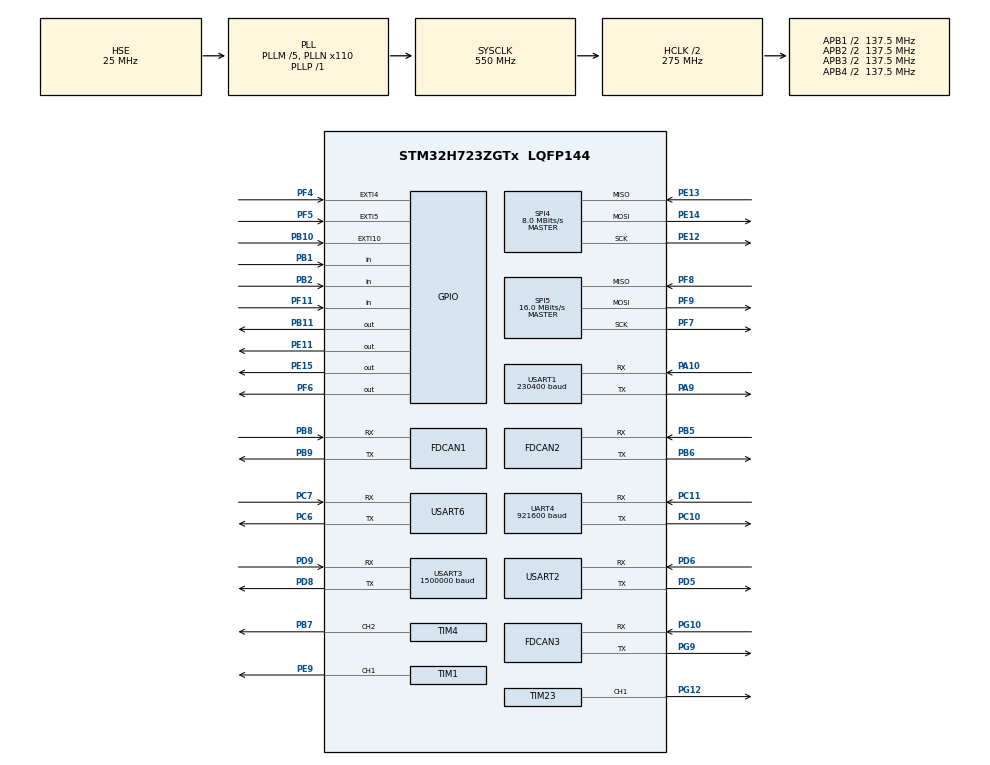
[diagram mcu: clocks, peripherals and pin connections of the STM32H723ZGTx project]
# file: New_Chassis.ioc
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CORTEX_M7.default_mode_Activation=1
Dma.Request0=USART2_RX
Dma.Request1=USART2_TX
Dma.Request2=UART4_RX
Dma.Request3=UART4_TX
Dma.Request4=TIM4_CH2
Dma.Request5=TIM1_CH1
Dma.Request6=USART1_RX
Dma.Request7=USART1_TX
Dma.Request8=USART3_RX
Dma.Request9=TIM23_CH1
Dma.TIM1_CH1.5.Direction=DMA_MEMORY_TO_PERIPH
Dma.TIM1_CH1.5.EventEnable=DISABLE
Dma.TIM1_CH1.5.FIFOMode=DMA_FIFOMODE_DISABLE
Dma.TIM1_CH1.5.Instance=DMA1_Stream5
Dma.TIM1_CH1.5.MemDataAlignment=DMA_MDATAALIGN_WORD
Dma.TIM1_CH1.5.MemInc=DMA_MINC_ENABLE
Dma.TIM1_CH1.5.Mode=DMA_NORMAL
Dma.TIM1_CH1.5.PeriphDataAlignment=DMA_PDATAALIGN_WORD
Dma.TIM1_CH1.5.PeriphInc=DMA_PINC_DISABLE
Dma.TIM1_CH1.5.Polarity=HAL_DMAMUX_REQ_GEN_RISING
Dma.TIM1_CH1.5.Priority=DMA_PRIORITY_LOW
Dma.TIM1_CH1.5.RequestNumber=1
Dma.TIM1_CH1.5.SignalID=NONE
Dma.TIM1_CH1.5.SyncEnable=DISABLE
Dma.TIM1_CH1.5.SyncPolarity=HAL_DMAMUX_SYNC_NO_EVENT
Dma.TIM1_CH1.5.SyncRequestNumber=1
Dma.TIM1_CH1.5.SyncSignalID=NONE
Dma.TIM23_CH1.9.Direction=DMA_MEMORY_TO_PERIPH
Dma.TIM23_CH1.9.EventEnable=DISABLE
Dma.TIM23_CH1.9.FIFOMode=DMA_FIFOMODE_DISABLE
Dma.TIM23_CH1.9.Instance=DMA2_Stream1
Dma.TIM23_CH1.9.MemDataAlignment=DMA_MDATAALIGN_WORD
Dma.TIM23_CH1.9.MemInc=DMA_MINC_ENABLE
Dma.TIM23_CH1.9.Mode=DMA_NORMAL
Dma.TIM23_CH1.9.PeriphDataAlignment=DMA_PDATAALIGN_WORD
Dma.TIM23_CH1.9.PeriphInc=DMA_PINC_DISABLE
Dma.TIM23_CH1.9.Polarity=HAL_DMAMUX_REQ_GEN_RISING
Dma.TIM23_CH1.9.Priority=DMA_PRIORITY_VERY_HIGH
Dma.TIM23_CH1.9.RequestNumber=1
Dma.TIM23_CH1.9.SignalID=NONE
Dma.TIM23_CH1.9.SyncEnable=DISABLE
Dma.TIM23_CH1.9.SyncPolarity=HAL_DMAMUX_SYNC_NO_EVENT
Dma.TIM23_CH1.9.SyncRequestNumber=1
Dma.TIM23_CH1.9.SyncSignalID=NONE
Dma.TIM4_CH2.4.Direction=DMA_MEMORY_TO_PERIPH
Dma.TIM4_CH2.4.EventEnable=DISABLE
Dma.TIM4_CH2.4.FIFOMode=DMA_FIFOMODE_DISABLE
Dma.TIM4_CH2.4.Instance=DMA1_Stream1
Dma.TIM4_CH2.4.MemDataAlignment=DMA_MDATAALIGN_WORD
Dma.TIM4_CH2.4.MemInc=DMA_MINC_ENABLE
Dma.TIM4_CH2.4.Mode=DMA_NORMAL
Dma.TIM4_CH2.4.PeriphDataAlignment=DMA_PDATAALIGN_WORD
Dma.TIM4_CH2.4.PeriphInc=DMA_PINC_DISABLE
Dma.TIM4_CH2.4.Polarity=HAL_DMAMUX_REQ_GEN_RISING
Dma.TIM4_CH2.4.Priority=DMA_PRIORITY_LOW
Dma.TIM4_CH2.4.RequestNumber=1
Dma.TIM4_CH2.4.SignalID=NONE
Dma.TIM4_CH2.4.SyncEnable=DISABLE
Dma.TIM4_CH2.4.SyncPolarity=HAL_DMAMUX_SYNC_NO_EVENT
Dma.TIM4_CH2.4.SyncRequestNumber=1
Dma.TIM4_CH2.4.SyncSignalID=NONE
Dma.UART4_RX.2.Direction=DMA_PERIPH_TO_MEMORY
Dma.UART4_RX.2.EventEnable=DISABLE
Dma.UART4_RX.2.FIFOMode=DMA_FIFOMODE_DISABLE
Dma.UART4_RX.2.Instance=DMA1_Stream2
Dma.UART4_RX.2.MemDataAlignment=DMA_MDATAALIGN_BYTE
Dma.UART4_RX.2.MemInc=DMA_MINC_ENABLE
Dma.UART4_RX.2.Mode=DMA_NORMAL
Dma.UART4_RX.2.PeriphDataAlignment=DMA_PDATAALIGN_BYTE
Dma.UART4_RX.2.PeriphInc=DMA_PINC_DISABLE
Dma.UART4_RX.2.Polarity=HAL_DMAMUX_REQ_GEN_RISING
Dma.UART4_RX.2.Priority=DMA_PRIORITY_LOW
Dma.UART4_RX.2.RequestNumber=1
Dma.UART4_RX.2.SignalID=NONE
Dma.UART4_RX.2.SyncEnable=DISABLE
Dma.UART4_RX.2.SyncPolarity=HAL_DMAMUX_SYNC_NO_EVENT
Dma.UART4_RX.2.SyncRequestNumber=1
Dma.UART4_RX.2.SyncSignalID=NONE
Dma.UART4_TX.3.Direction=DMA_MEMORY_TO_PERIPH
Dma.UART4_TX.3.EventEnable=DISABLE
Dma.UART4_TX.3.FIFOMode=DMA_FIFOMODE_DISABLE
Dma.UART4_TX.3.Instance=DMA1_Stream4
Dma.UART4_TX.3.MemDataAlignment=DMA_MDATAALIGN_BYTE
Dma.UART4_TX.3.MemInc=DMA_MINC_ENABLE
Dma.UART4_TX.3.Mode=DMA_NORMAL
Dma.UART4_TX.3.PeriphDataAlignment=DMA_PDATAALIGN_BYTE
Dma.UART4_TX.3.PeriphInc=DMA_PINC_DISABLE
Dma.UART4_TX.3.Polarity=HAL_DMAMUX_REQ_GEN_RISING
Dma.UART4_TX.3.Priority=DMA_PRIORITY_LOW
Dma.UART4_TX.3.RequestNumber=1
Dma.UART4_TX.3.SignalID=NONE
Dma.UART4_TX.3.SyncEnable=DISABLE
Dma.UART4_TX.3.SyncPolarity=HAL_DMAMUX_SYNC_NO_EVENT
Dma.UART4_TX.3.SyncRequestNumber=1
Dma.UART4_TX.3.SyncSignalID=NONE
Dma.USART1_RX.6.Direction=DMA_PERIPH_TO_MEMORY
Dma.USART1_RX.6.EventEnable=DISABLE
Dma.USART1_RX.6.FIFOMode=DMA_FIFOMODE_DISABLE
Dma.USART1_RX.6.Instance=DMA1_Stream7
Dma.USART1_RX.6.MemDataAlignment=DMA_MDATAALIGN_BYTE
Dma.USART1_RX.6.MemInc=DMA_MINC_ENABLE
Dma.USART1_RX.6.Mode=DMA_NORMAL
Dma.USART1_RX.6.PeriphDataAlignment=DMA_PDATAALIGN_BYTE
Dma.USART1_RX.6.PeriphInc=DMA_PINC_DISABLE
Dma.USART1_RX.6.Polarity=HAL_DMAMUX_REQ_GEN_RISING
Dma.USART1_RX.6.Priority=DMA_PRIORITY_LOW
Dma.USART1_RX.6.RequestNumber=1
Dma.USART1_RX.6.SignalID=NONE
Dma.USART1_RX.6.SyncEnable=DISABLE
Dma.USART1_RX.6.SyncPolarity=HAL_DMAMUX_SYNC_NO_EVENT
Dma.USART1_RX.6.SyncRequestNumber=1
Dma.USART1_RX.6.SyncSignalID=NONE
Dma.USART1_TX.7.Direction=DMA_MEMORY_TO_PERIPH
Dma.USART1_TX.7.EventEnable=DISABLE
Dma.USART1_TX.7.FIFOMode=DMA_FIFOMODE_DISABLE
Dma.USART1_TX.7.Instance=DMA2_Stream0
Dma.USART1_TX.7.MemDataAlignment=DMA_MDATAALIGN_BYTE
Dma.USART1_TX.7.MemInc=DMA_MINC_ENABLE
Dma.USART1_TX.7.Mode=DMA_NORMAL
Dma.USART1_TX.7.PeriphDataAlignment=DMA_PDATAALIGN_BYTE
Dma.USART1_TX.7.PeriphInc=DMA_PINC_DISABLE
Dma.USART1_TX.7.Polarity=HAL_DMAMUX_REQ_GEN_RISING
Dma.USART1_TX.7.Priority=DMA_PRIORITY_LOW
Dma.USART1_TX.7.RequestNumber=1
Dma.USART1_TX.7.SignalID=NONE
Dma.USART1_TX.7.SyncEnable=DISABLE
Dma.USART1_TX.7.SyncPolarity=HAL_DMAMUX_SYNC_NO_EVENT
Dma.USART1_TX.7.SyncRequestNumber=1
Dma.USART1_TX.7.SyncSignalID=NONE
Dma.USART2_RX.0.Direction=DMA_PERIPH_TO_MEMORY
Dma.USART2_RX.0.EventEnable=DISABLE
Dma.USART2_RX.0.FIFOMode=DMA_FIFOMODE_DISABLE
Dma.USART2_RX.0.Instance=DMA1_Stream0
Dma.USART2_RX.0.MemDataAlignment=DMA_MDATAALIGN_BYTE
Dma.USART2_RX.0.MemInc=DMA_MINC_ENABLE
Dma.USART2_RX.0.Mode=DMA_NORMAL
Dma.USART2_RX.0.PeriphDataAlignment=DMA_PDATAALIGN_BYTE
Dma.USART2_RX.0.PeriphInc=DMA_PINC_DISABLE
Dma.USART2_RX.0.Polarity=HAL_DMAMUX_REQ_GEN_RISING
Dma.USART2_RX.0.Priority=DMA_PRIORITY_LOW
Dma.USART2_RX.0.RequestNumber=1
Dma.USART2_RX.0.SignalID=NONE
Dma.USART2_RX.0.SyncEnable=DISABLE
Dma.USART2_RX.0.SyncPolarity=HAL_DMAMUX_SYNC_NO_EVENT
Dma.USART2_RX.0.SyncRequestNumber=1
Dma.USART2_RX.0.SyncSignalID=NONE
Dma.USART2_TX.1.Direction=DMA_MEMORY_TO_PERIPH
Dma.USART2_TX.1.EventEnable=DISABLE
Dma.USART2_TX.1.FIFOMode=DMA_FIFOMODE_DISABLE
Dma.USART2_TX.1.Instance=DMA1_Stream3
Dma.USART2_TX.1.MemDataAlignment=DMA_MDATAALIGN_BYTE
Dma.USART2_TX.1.MemInc=DMA_MINC_ENABLE
Dma.USART2_TX.1.Mode=DMA_NORMAL
Dma.USART2_TX.1.PeriphDataAlignment=DMA_PDATAALIGN_BYTE
Dma.USART2_TX.1.PeriphInc=DMA_PINC_DISABLE
Dma.USART2_TX.1.Polarity=HAL_DMAMUX_REQ_GEN_RISING
Dma.USART2_TX.1.Priority=DMA_PRIORITY_LOW
Dma.USART2_TX.1.RequestNumber=1
Dma.USART2_TX.1.SignalID=NONE
Dma.USART2_TX.1.SyncEnable=DISABLE
Dma.USART2_TX.1.SyncPolarity=HAL_DMAMUX_SYNC_NO_EVENT
Dma.USART2_TX.1.SyncRequestNumber=1
Dma.USART2_TX.1.SyncSignalID=NONE
Dma.USART3_RX.8.Direction=DMA_PERIPH_TO_MEMORY
Dma.USART3_RX.8.EventEnable=DISABLE
Dma.USART3_RX.8.FIFOMode=DMA_FIFOMODE_DISABLE
Dma.USART3_RX.8.Instance=DMA1_Stream6
Dma.USART3_RX.8.MemDataAlignment=DMA_MDATAALIGN_BYTE
Dma.USART3_RX.8.MemInc=DMA_MINC_ENABLE
Dma.USART3_RX.8.Mode=DMA_NORMAL
Dma.USART3_RX.8.PeriphDataAlignment=DMA_PDATAALIGN_BYTE
Dma.USART3_RX.8.PeriphInc=DMA_PINC_DISABLE
Dma.USART3_RX.8.Polarity=HAL_DMAMUX_REQ_GEN_RISING
Dma.USART3_RX.8.Priority=DMA_PRIORITY_LOW
Dma.USART3_RX.8.RequestNumber=1
Dma.USART3_RX.8.SignalID=NONE
Dma.USART3_RX.8.SyncEnable=DISABLE
Dma.USART3_RX.8.SyncPolarity=HAL_DMAMUX_SYNC_NO_EVENT
Dma.USART3_RX.8.SyncRequestNumber=1
Dma.USART3_RX.8.SyncSignalID=NONE
FDCAN1.CalculateBaudRateNominal=1000000
FDCAN1.CalculateTimeBitNominal=1000
FDCAN1.CalculateTimeQuantumNominal=100.0
FDCAN1.DataPrescaler=12
FDCAN1.DataTimeSeg1=2
FDCAN1.DataTimeSeg2=2
FDCAN1.ExtFiltersNbr=1
FDCAN1.FrameFormat=FDCAN_FRAME_FD_BRS
FDCAN1.NominalPrescaler=12
FDCAN1.NominalTimeSeg1=7
FDCAN1.NominalTimeSeg2=2
FDCAN1.RxBufferSize=FDCAN_DATA_BYTES_64
FDCAN1.RxBuffersNbr=8
FDCAN1.RxFifo0ElmtSize=FDCAN_DATA_BYTES_64
FDCAN1.RxFifo0ElmtsNbr=8
FDCAN1.RxFifo1ElmtSize=FDCAN_DATA_BYTES_64
FDCAN1.RxFifo1ElmtsNbr=8
FDCAN1.StdFiltersNbr=1
FDCAN1.TxBuffersNbr=0
FDCAN1.TxElmtSize=FDCAN_DATA_BYTES_64
FDCAN1.TxFifoQueueElmtsNbr=8
FDCAN2.CalculateBaudRateNominal=500000
FDCAN2.CalculateTimeBitNominal=2000
FDCAN2.CalculateTimeQuantumNominal=100.0
FDCAN2.ExtFiltersNbr=1
FDCAN2.MessageRAMOffset=666
FDCAN2.NominalPrescaler=12
FDCAN2.NominalTimeSeg1=15
FDCAN2.NominalTimeSeg2=4
FDCAN2.RxBufferSize=FDCAN_DATA_BYTES_64
FDCAN2.RxBuffersNbr=8
FDCAN2.RxFifo0ElmtSize=FDCAN_DATA_BYTES_64
FDCAN2.RxFifo0ElmtsNbr=8
FDCAN2.RxFifo1ElmtSize=FDCAN_DATA_BYTES_64
FDCAN2.RxFifo1ElmtsNbr=8
FDCAN2.StdFiltersNbr=1
FDCAN2.TxBuffersNbr=0
FDCAN2.TxElmtSize=FDCAN_DATA_BYTES_64
FDCAN2.TxFifoQueueElmtsNbr=8
FDCAN3.AutoRetransmission=DISABLE
FDCAN3.CalculateBaudRateNominal=500000
FDCAN3.CalculateTimeBitNominal=2000
FDCAN3.CalculateTimeQuantumNominal=100.0
FDCAN3.DataPrescaler=6
FDCAN3.DataSyncJumpWidth=1
FDCAN3.DataTimeSeg1=7
FDCAN3.DataTimeSeg2=2
FDCAN3.ExtFiltersNbr=1
FDCAN3.FrameFormat=FDCAN_FRAME_CLASSIC
FDCAN3.MessageRAMOffset=666*2
FDCAN3.NominalPrescaler=12
FDCAN3.NominalTimeSeg1=15
FDCAN3.NominalTimeSeg2=4
FDCAN3.RxBufferSize=FDCAN_DATA_BYTES_64
FDCAN3.RxBuffersNbr=8
FDCAN3.RxFifo0ElmtSize=FDCAN_DATA_BYTES_64
FDCAN3.RxFifo0ElmtsNbr=8
FDCAN3.RxFifo1ElmtSize=FDCAN_DATA_BYTES_64
FDCAN3.RxFifo1ElmtsNbr=8
FDCAN3.StdFiltersNbr=1
FDCAN3.TxBuffersNbr=0
FDCAN3.TxElmtSize=FDCAN_DATA_BYTES_64
FDCAN3.TxFifoQueueElmtsNbr=32
FREERTOS.INCLUDE_vTaskDelayUntil=1
FREERTOS.Tasks01=Motor_Control,0,1024,motor_control,As weak,NULL,Dynamic,NULL,NULL;Communication,0,1024,communication,As weak,NULL,Dynamic,NULL,NULL;Location,0,512,location,As weak,NULL,Dynamic,NULL,NULL;myTransmit_task,3,512,StartTransmit_task,As weak,NULL,Dynamic,NULL,NULL;Detect_Wrong,0,512,Detect,As weak,NULL,Dynamic,NULL,NULL;Defense1,0,512,HTMotorControl,As weak,NULL,Dynamic,NULL,NULL;Defense2,-3,512,ParamsChange,As weak,NULL,Dynamic,NULL,NULL
FREERTOS.configTOTAL_HEAP_SIZE=88888
FREERTOS.configUSE_IDLE_HOOK=1
FREERTOS.configUSE_TICK_HOOK=1
Mcu.Family=STM32H7
Mcu.Name=STM32H723ZGTx
Mcu.Package=LQFP144
NVIC.DMA1_Stream0_IRQn=true\:5\:0\:false\:false\:true\:true\:false\:true\:true
NVIC.DMA1_Stream1_IRQn=true\:5\:0\:false\:false\:true\:true\:false\:true\:true
NVIC.DMA1_Stream2_IRQn=true\:5\:0\:false\:false\:true\:true\:false\:true\:true
NVIC.DMA1_Stream3_IRQn=true\:5\:0\:false\:false\:true\:true\:false\:true\:true
NVIC.DMA1_Stream4_IRQn=true\:5\:0\:false\:false\:true\:true\:false\:true\:true
NVIC.DMA1_Stream5_IRQn=true\:5\:0\:false\:false\:true\:true\:false\:true\:true
NVIC.DMA1_Stream6_IRQn=true\:5\:0\:false\:false\:true\:true\:false\:true\:true
NVIC.DMA1_Stream7_IRQn=true\:5\:0\:false\:false\:true\:true\:false\:true\:true
NVIC.DMA2_Stream0_IRQn=true\:5\:0\:false\:false\:true\:true\:false\:true\:true
NVIC.DMA2_Stream1_IRQn=true\:5\:0\:false\:false\:true\:true\:false\:true\:true
NVIC.EXTI15_10_IRQn=true\:5\:0\:false\:false\:true\:true\:true\:true\:true
NVIC.EXTI4_IRQn=true\:5\:0\:false\:false\:true\:true\:true\:true\:true
NVIC.EXTI9_5_IRQn=true\:5\:0\:false\:false\:true\:true\:true\:true\:true
NVIC.FDCAN1_IT0_IRQn=true\:5\:0\:false\:false\:true\:true\:true\:true\:true
NVIC.FDCAN1_IT1_IRQn=true\:5\:0\:false\:false\:true\:true\:true\:true\:true
NVIC.FDCAN2_IT0_IRQn=true\:5\:0\:false\:false\:true\:true\:true\:true\:true
NVIC.FDCAN2_IT1_IRQn=true\:5\:0\:false\:false\:true\:true\:true\:true\:true
NVIC.FDCAN3_IT0_IRQn=true\:5\:0\:false\:false\:true\:true\:true\:true\:true
NVIC.FDCAN3_IT1_IRQn=true\:5\:0\:false\:false\:true\:true\:true\:true\:true
NVIC.PriorityGroup=NVIC_PRIORITYGROUP_4
NVIC.SPI4_IRQn=true\:5\:0\:false\:false\:true\:true\:true\:true\:true
NVIC.TIM16_IRQn=true\:5\:0\:false\:false\:true\:true\:true\:true\:true
NVIC.TIM23_IRQn=true\:5\:0\:false\:false\:true\:true\:true\:true\:true
NVIC.TIM2_IRQn=true\:15\:0\:false\:false\:true\:false\:false\:true\:true
NVIC.TIM3_IRQn=true\:5\:0\:false\:false\:true\:true\:true\:true\:true
NVIC.TIM4_IRQn=true\:5\:0\:false\:false\:true\:true\:true\:true\:true
NVIC.TimeBase=TIM2_IRQn
NVIC.TimeBaseIP=TIM2
NVIC.UART4_IRQn=true\:5\:0\:false\:false\:true\:true\:true\:true\:true
NVIC.USART1_IRQn=true\:5\:0\:false\:false\:true\:true\:true\:true\:true
NVIC.USART2_IRQn=true\:5\:0\:false\:false\:true\:true\:true\:true\:true
NVIC.USART3_IRQn=true\:5\:0\:false\:false\:true\:true\:true\:true\:true
PA10.GPIO_PuPd=GPIO_PULLDOWN
PA10.GPIO_Speed=GPIO_SPEED_FREQ_VERY_HIGH
PA10.Mode=Asynchronous
PA10.Signal=USART1_RX
PA9.GPIO_PuPd=GPIO_PULLDOWN
PA9.GPIO_Speed=GPIO_SPEED_FREQ_VERY_HIGH
PA9.Mode=Asynchronous
PA9.Signal=USART1_TX
PB1.Signal=GPIO_Input
PB10.GPIO_ModeDefaultEXTI=GPIO_MODE_IT_FALLING
PB10.Signal=GPXTI10
PB11.GPIO_ModeDefaultOutputPP=GPIO_MODE_OUTPUT_PP
PB11.GPIO_PuPd=GPIO_PULLDOWN
PB11.PinState=GPIO_PIN_SET
PB11.Signal=GPIO_Output
PB2.Signal=GPIO_Input
PB5.Mode=FDCAN_Activate
PB5.Signal=FDCAN2_RX
PB6.Mode=FDCAN_Activate
PB6.Signal=FDCAN2_TX
PB7.Signal=S_TIM4_CH2
PB8.Mode=FDCAN_Activate
PB8.Signal=FDCAN1_RX
PB9.Mode=FDCAN_Activate
PB9.Signal=FDCAN1_TX
PC10.Mode=Asynchronous
PC10.Signal=UART4_TX
PC11.GPIO_PuPd=GPIO_PULLUP
PC11.Mode=Asynchronous
PC11.Signal=UART4_RX
PC6.Mode=Asynchronous
PC6.Signal=USART6_TX
PC7.Mode=Asynchronous
PC7.Signal=USART6_RX
PD5.GPIO_PuPd=GPIO_PULLUP
PD5.Mode=Asynchronous
PD5.Signal=USART2_TX
PD6.GPIO_PuPd=GPIO_PULLUP
PD6.Mode=Asynchronous
PD6.Signal=USART2_RX
PD8.GPIO_PuPd=GPIO_PULLUP
PD8.Mode=Asynchronous
PD8.Signal=USART3_TX
PD9.GPIO_PuPd=GPIO_PULLUP
PD9.Mode=Asynchronous
PD9.Signal=USART3_RX
PE11.Signal=GPIO_Output
PE12.Mode=Full_Duplex_Master
PE12.Signal=SPI4_SCK
PE13.Mode=Full_Duplex_Master
PE13.Signal=SPI4_MISO
PE14.Mode=Full_Duplex_Master
PE14.Signal=SPI4_MOSI
PE15.Signal=GPIO_Output
PE9.Signal=S_TIM1_CH1
PF11.Signal=GPIO_Input
PF4.GPIO_ModeDefaultEXTI=GPIO_MODE_IT_FALLING
PF4.GPIO_PuPd=GPIO_PULLUP
PF4.Signal=GPXTI4
PF5.GPIO_ModeDefaultEXTI=GPIO_MODE_IT_FALLING
PF5.GPIO_PuPd=GPIO_PULLUP
PF5.Signal=GPXTI5
PF6.GPIO_PuPd=GPIO_PULLUP
PF6.GPIO_Speed=GPIO_SPEED_FREQ_HIGH
PF6.PinState=GPIO_PIN_RESET
PF6.Signal=GPIO_Output
PF7.Mode=Full_Duplex_Master
PF7.Signal=SPI5_SCK
PF8.Mode=Full_Duplex_Master
PF8.Signal=SPI5_MISO
PF9.Mode=Full_Duplex_Master
PF9.Signal=SPI5_MOSI
PG10.Mode=FDCAN_Activate
PG10.Signal=FDCAN3_RX
PG12.GPIO_PuPd=GPIO_NOPULL
PG12.GPIO_Speed=GPIO_SPEED_FREQ_VERY_HIGH
PG12.Mode=PWM Generation1 CH1
PG12.Signal=TIM23_CH1
PG9.Mode=FDCAN_Activate
PG9.Signal=FDCAN3_TX
PH0-OSC_IN.Mode=HSE-External-Oscillator
PH0-OSC_IN.Signal=RCC_OSC_IN
PH1-OSC_OUT.Mode=HSE-External-Oscillator
PH1-OSC_OUT.Signal=RCC_OSC_OUT
ProjectManager.HeapSize=0x200
ProjectManager.StackSize=0x400
ProjectManager.TargetToolchain=MDK-ARM V5.32
RCC.ADCCLockSelection=RCC_ADCCLKSOURCE_PLL2
RCC.ADCFreq_Value=120000000
RCC.APB1Freq_Value=137500000
RCC.APB2Freq_Value=137500000
RCC.APB3Freq_Value=137500000
RCC.APB4Freq_Value=137500000
RCC.CECCLockSelection=RCC_CECCLKSOURCE_LSI
RCC.CKPERSourceSelection=RCC_CLKPSOURCE_HSI
RCC.CSI_VALUE=4000000
RCC.CortexFreq_Value=550000000
RCC.Cortex_Div=SYSTICK_CLKSOURCE_HCLK
RCC.Cortex_DivARG=SystemCoreClock/1000
RCC.D1CPRE=RCC_SYSCLK_DIV1
RCC.D1PPRE=RCC_APB3_DIV2
RCC.D2PPRE1=RCC_APB1_DIV2
RCC.D2PPRE2=RCC_APB2_DIV2
RCC.D3PPRE=RCC_APB4_DIV2
RCC.DFSDMCLockSelection=RCC_DFSDM1CLKSOURCE_D2PCLK1
RCC.DIVM1=5
RCC.DIVM2=25
RCC.DIVM3=5
RCC.DIVN1=110
RCC.DIVN2=240
RCC.DIVN3=96
RCC.DIVP1=1
RCC.DIVP2=2
RCC.DIVP3=2
RCC.DIVQ1=2
RCC.DIVQ3=15
RCC.DIVR1=2
RCC.DIVR2=2
RCC.DIVR3=2
RCC.EXTERNAL_CLOCK_VALUE=12288000
RCC.EnbaleCSS=false
RCC.FDCANCLockSelection=RCC_FDCANCLKSOURCE_PLL2
RCC.FMCCLockSelection=RCC_FMCCLKSOURCE_D1HCLK
RCC.HCLKFreq_Value=275000000
RCC.HPRE=RCC_HCLK_DIV2
RCC.HSE_VALUE=25000000
RCC.HSI48_VALUE=48000000
RCC.HSIDiv=RCC_PLLSAIDIVR_1
RCC.HSI_VALUE=64000000
RCC.I2C123CLockSelection=RCC_I2C1235CLKSOURCE_D2PCLK1
RCC.I2C4CLockSelection=RCC_I2C4CLKSOURCE_D3PCLK1
RCC.LPTIM1CLockSelection=RCC_LPTIM1CLKSOURCE_D2PCLK1
RCC.LPTIM2CLockSelection=RCC_LPTIM2CLKSOURCE_D3PCLK1
RCC.LPTIM345CLockSelection=RCC_LPTIM345CLKSOURCE_D3PCLK1
RCC.LPUART1CLockSelection=RCC_LPUART1CLKSOURCE_D3PCLK1
RCC.LSEState=RCC_LSE_OFF
RCC.LSE_VALUE=32768
RCC.PLLSourceVirtual=RCC_PLLSOURCE_HSE
RCC.QSPICLockSelection=RCC_OSPICLKSOURCE_D1HCLK
RCC.RCC_MCO1Source=RCC_MCO1SOURCE_HSI
RCC.RCC_MCO2Source=RCC_MCO2SOURCE_SYSCLK
RCC.RCC_MCODiv1=RCC_MCODIV_1
RCC.RCC_MCODiv2=RCC_MCODIV_1
RCC.RCC_RTC_Clock_Source_FROM_HSE=RCC_RTCCLKSOURCE_HSE_DIV2
RCC.RNGCLockSelection=RCC_RNGCLKSOURCE_HSI48
RCC.SAI1CLockSelection=RCC_SAI1CLKSOURCE_PLL
RCC.SAI4ACLockSelection=RCC_SAI4ACLKSOURCE_PLL
RCC.SAI4BCLockSelection=RCC_SAI4BCLKSOURCE_PLL
RCC.SPDIFCLockSelection=RCC_SPDIFRXCLKSOURCE_PLL
RCC.SPI123CLockSelection=RCC_SPI123CLKSOURCE_PLL
RCC.SPI6CLockSelection=RCC_SPI6CLKSOURCE_D3PCLK1
RCC.SWPCLockSelection=RCC_SWPMI1CLKSOURCE_D2PCLK1
RCC.SYSCLKFreq_VALUE=550000000
RCC.SYSCLKSource=RCC_SYSCLKSOURCE_PLLCLK
RCC.Spi45ClockSelection=RCC_SPI45CLKSOURCE_PLL3
RCC.USART16CLockSelection=RCC_USART16910CLKSOURCE_PLL2
RCC.USART234578CLockSelection=RCC_USART234578CLKSOURCE_PLL2
RCC.USBCLockSelection=RCC_USBCLKSOURCE_PLL
RCC.USBFreq_Value=275000000
SH.S_TIM1_CH1.0=TIM1_CH1,PWM Generation1 CH1
SH.S_TIM4_CH2.0=TIM4_CH2,PWM Generation2 CH2
SPI4.BaudRatePrescaler=SPI_BAUDRATEPRESCALER_4
SPI4.CalculateBaudRate=8.0 MBits/s
SPI4.DataSize=SPI_DATASIZE_8BIT
SPI4.Direction=SPI_DIRECTION_2LINES
SPI4.Mode=SPI_MODE_MASTER
SPI4.VirtualType=VM_MASTER
SPI5.BaudRatePrescaler=SPI_BAUDRATEPRESCALER_2
SPI5.CalculateBaudRate=16.0 MBits/s
SPI5.DataSize=SPI_DATASIZE_8BIT
SPI5.Direction=SPI_DIRECTION_2LINES
SPI5.Mode=SPI_MODE_MASTER
SPI5.VirtualType=VM_MASTER
TIM1.Channel-PWM\ Generation1\ CH1=TIM_CHANNEL_1
TIM16.Period=1000-1
TIM16.Prescaler=275-1
TIM23.Channel-PWM\ Generation1\ CH1=TIM_CHANNEL_1
TIM23.OCFastMode_PWM-PWM\ Generation1\ CH1=TIM_OCFAST_ENABLE
TIM23.Period=343
TIM3.AutoReloadPreload=TIM_AUTORELOAD_PRELOAD_ENABLE
TIM3.Period=100
TIM3.Prescaler=274
TIM4.AutoReloadPreload=TIM_AUTORELOAD_PRELOAD_DISABLE
TIM4.Channel-PWM\ Generation1\ CH1=TIM_CHANNEL_1
TIM4.Channel-PWM\ Generation2\ CH2=TIM_CHANNEL_2
TIM4.OCFastMode_PWM-PWM\ Generation2\ CH2=TIM_OCFAST_ENABLE
TIM4.Period=342
UART4.BaudRate=921600
USART1.BaudRate=230400
USART1.VirtualMode-Asynchronous=VM_ASYNC
USART2.VirtualMode-Asynchronous=VM_ASYNC
USART3.BaudRate=1500000
USART3.VirtualMode-Asynchronous=VM_ASYNC
USART6.VirtualMode-Asynchronous=VM_ASYNC
VP_FREERTOS_VS_CMSIS_V1.Mode=CMSIS_V1
VP_MEMORYMAP_VS_MEMORYMAP.Mode=CurAppReg
VP_SYS_VS_tim2.Mode=TIM2
VP_TIM16_VS_ClockSourceINT.Mode=Enable_Timer
VP_TIM1_VS_ClockSourceINT.Mode=Internal
VP_TIM3_VS_ClockSourceINT.Mode=Internal
VP_TIM4_VS_ClockSourceINT.Mode=Internal
board=custom

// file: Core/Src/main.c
/* USER CODE BEGIN Header */
/**
  ******************************************************************************
  * @file           : main.c
  * @brief          : Main program body
  ******************************************************************************
  * @attention
  *
  * Copyright (c) 2025 STMicroelectronics.
  * All rights reserved.
  *
  * This software is licensed under terms that can be found in the LICENSE file
  * in the root directory of this software component.
  * If no LICENSE file comes with this software, it is provided AS-IS.
  *
  ******************************************************************************
  */
/* USER CODE END Header */
#include "main.h"
#include "cmsis_os.h"
#include "dma.h"
#include "fdcan.h"
#include "memorymap.h"
#include "spi.h"
#include "tim.h"
#include "usart.h"
#include "gpio.h"

/* USER CODE BEGIN Includes */
#include "Control.hpp"
#include "Global.h"
#include "SPI_FDCAN.h"
#include "Television.h"
#include "CPU_Load.h"
#include "Interact.h"
#include "Chassis.h"
#include "Can_Bsp.h"
#include "Encoder.h"
#include <string.h>
#include "Global.h"
#include "Basket.h"
#include "Guard.h"
#include "Flow.h"
#include "mine.h"
#include "NetWork.h"
#include "Gyro.h"
#include "RGB.h"
#include "Flash_Bsp.h"

/* USER CODE END Includes */

/* USER CODE BEGIN PV */
FDCAN_RxHeaderTypeDef RxHeader;
/* USER CODE END PV */

void SystemClock_Config(void);
void PeriphCommonClock_Config(void);
static void MPU_Config(void);
void MX_FREERTOS_Init(void);

int main(void)
{

  /* MPU Configuration--------------------------------------------------------*/
  MPU_Config();
  /* MCU Configuration--------------------------------------------------------*/

  /* Reset of all peripherals, Initializes the Flash interface and the Systick. */
  HAL_Init();

  /* Configure the system clock */
  SystemClock_Config();

  /* Configure the peripherals common clocks */
  PeriphCommonClock_Config();

  /* Initialize all configured peripherals */
  MX_GPIO_Init();
  MX_DMA_Init();
  MX_FDCAN1_Init();
  MX_FDCAN2_Init();
  MX_USART2_UART_Init();
  MX_FDCAN3_Init();
  MX_TIM4_Init();
  MX_UART4_Init();
  MX_TIM1_Init();
  MX_USART1_UART_Init();
  MX_USART3_UART_Init();
  MX_USART6_UART_Init();
  MX_TIM3_Init();
  MX_SPI4_Init();
  MX_SPI5_Init();
  MX_TIM23_Init();
  MX_TIM16_Init();
  /* USER CODE BEGIN 2 */
	FlashBsp_Init();
	Chassis_SelfLock(true);
	//设置向R1发送数据的格式
	Set_SendMode(&site.now,"real",false);
	FDCAN4_Init();
	RGB_Init();
	GamePad_Init();
	Encoder_Init();
	TurnMotor_OffsetAngleInit();
	Wireless_init();
  Gyro_Reset();
	Kalman_Init();
	CPU_Usage_Init();
	MPC_Init();
  /* USER CODE END 2 */

  /* Call init function for freertos objects (in cmsis_os2.c) */
  MX_FREERTOS_Init();

  /* Start scheduler */
  osKernelStart();

  /* We should never get here as control is now taken by the scheduler */

  /* Infinite loop */
  while (1)
  {

  }
}

void SystemClock_Config(void)
{
  RCC_OscInitTypeDef RCC_OscInitStruct = {0};
  RCC_ClkInitTypeDef RCC_ClkInitStruct = {0};

  /** Supply configuration update enable
  */
  HAL_PWREx_ConfigSupply(PWR_LDO_SUPPLY);

  /** Configure the main internal regulator output voltage
  */
  __HAL_PWR_VOLTAGESCALING_CONFIG(PWR_REGULATOR_VOLTAGE_SCALE0);

  while(!__HAL_PWR_GET_FLAG(PWR_FLAG_VOSRDY)) {}

  /** Initializes the RCC Oscillators according to the specified parameters
  * in the RCC_OscInitTypeDef structure.
  */
  RCC_OscInitStruct.OscillatorType = RCC_OSCILLATORTYPE_HSE;
  RCC_OscInitStruct.HSEState = RCC_HSE_ON;
  RCC_OscInitStruct.PLL.PLLState = RCC_PLL_ON;
  RCC_OscInitStruct.PLL.PLLSource = RCC_PLLSOURCE_HSE;
  RCC_OscInitStruct.PLL.PLLM = 5;
  RCC_OscInitStruct.PLL.PLLN = 110;
  RCC_OscInitStruct.PLL.PLLP = 1;
  RCC_OscInitStruct.PLL.PLLQ = 2;
  RCC_OscInitStruct.PLL.PLLR = 2;
  RCC_OscInitStruct.PLL.PLLRGE = RCC_PLL1VCIRANGE_2;
  RCC_OscInitStruct.PLL.PLLVCOSEL = RCC_PLL1VCOWIDE;
  RCC_OscInitStruct.PLL.PLLFRACN = 0;
  if (HAL_RCC_OscConfig(&RCC_OscInitStruct) != HAL_OK)
  {
    Error_Handler();
  }

  /** Initializes the CPU, AHB and APB buses clocks
  */
  RCC_ClkInitStruct.ClockType = RCC_CLOCKTYPE_HCLK|RCC_CLOCKTYPE_SYSCLK
                              |RCC_CLOCKTYPE_PCLK1|RCC_CLOCKTYPE_PCLK2
                              |RCC_CLOCKTYPE_D3PCLK1|RCC_CLOCKTYPE_D1PCLK1;
  RCC_ClkInitStruct.SYSCLKSource = RCC_SYSCLKSOURCE_PLLCLK;
  RCC_ClkInitStruct.SYSCLKDivider = RCC_SYSCLK_DIV1;
  RCC_ClkInitStruct.AHBCLKDivider = RCC_HCLK_DIV2;
  RCC_ClkInitStruct.APB3CLKDivider = RCC_APB3_DIV2;
  RCC_ClkInitStruct.APB1CLKDivider = RCC_APB1_DIV2;
  RCC_ClkInitStruct.APB2CLKDivider = RCC_APB2_DIV2;
  RCC_ClkInitStruct.APB4CLKDivider = RCC_APB4_DIV2;

  if (HAL_RCC_ClockConfig(&RCC_ClkInitStruct, FLASH_LATENCY_3) != HAL_OK)
  {
    Error_Handler();
  }
}

void PeriphCommonClock_Config(void)
{
  RCC_PeriphCLKInitTypeDef PeriphClkInitStruct = {0};

  /** Initializes the peripherals clock
  */
  PeriphClkInitStruct.PeriphClockSelection = RCC_PERIPHCLK_SPI4|RCC_PERIPHCLK_SPI5
                              |RCC_PERIPHCLK_FDCAN|RCC_PERIPHCLK_USART1
                              |RCC_PERIPHCLK_USART6|RCC_PERIPHCLK_UART4
                              |RCC_PERIPHCLK_USART2|RCC_PERIPHCLK_USART3;
  PeriphClkInitStruct.PLL2.PLL2M = 25;
  PeriphClkInitStruct.PLL2.PLL2N = 240;
  PeriphClkInitStruct.PLL2.PLL2P = 2;
  PeriphClkInitStruct.PLL2.PLL2Q = 2;
  PeriphClkInitStruct.PLL2.PLL2R = 2;
  PeriphClkInitStruct.PLL2.PLL2RGE = RCC_PLL2VCIRANGE_0;
  PeriphClkInitStruct.PLL2.PLL2VCOSEL = RCC_PLL2VCOMEDIUM;
  PeriphClkInitStruct.PLL2.PLL2FRACN = 0;
  PeriphClkInitStruct.PLL3.PLL3M = 5;
  PeriphClkInitStruct.PLL3.PLL3N = 96;
  PeriphClkInitStruct.PLL3.PLL3P = 2;
  PeriphClkInitStruct.PLL3.PLL3Q = 15;
  PeriphClkInitStruct.PLL3.PLL3R = 2;
  PeriphClkInitStruct.PLL3.PLL3RGE = RCC_PLL3VCIRANGE_2;
  PeriphClkInitStruct.PLL3.PLL3VCOSEL = RCC_PLL3VCOWIDE;
  PeriphClkInitStruct.PLL3.PLL3FRACN = 0;
  PeriphClkInitStruct.Spi45ClockSelection = RCC_SPI45CLKSOURCE_PLL3;
  PeriphClkInitStruct.FdcanClockSelection = RCC_FDCANCLKSOURCE_PLL2;
  PeriphClkInitStruct.Usart234578ClockSelection = RCC_USART234578CLKSOURCE_PLL2;
  PeriphClkInitStruct.Usart16ClockSelection = RCC_USART16910CLKSOURCE_PLL2;
  if (HAL_RCCEx_PeriphCLKConfig(&PeriphClkInitStruct) != HAL_OK)
  {
    Error_Handler();
  }
}

/* USER CODE BEGIN 4 */
unsigned char Row_Data[64];
void HAL_FDCAN_RxFifo0Callback(FDCAN_HandleTypeDef *hfdcan, uint32_t RxFifo0ITs)
{
#define header RxHeader.Identifier
	if(hfdcan->Instance == FDCAN1){
		HAL_FDCAN_GetRxMessage(&hfdcan1,FDCAN_RX_FIFO0,&RxHeader,Row_Data);
		Turn_Motor_Decode(header,Row_Data);
		HighTorque_getFedback(&RxHeader, Row_Data);
	}
	if(hfdcan->Instance == FDCAN2){
		HAL_FDCAN_GetRxMessage(&hfdcan2,FDCAN_RX_FIFO0,&RxHeader,Row_Data);
		Get_Encoder_Data(header,Row_Data);
		Get_Gyro_Data(header,Row_Data);
	}
	if(hfdcan->Instance == FDCAN3){
		HAL_FDCAN_GetRxMessage(&hfdcan3,FDCAN_RX_FIFO0,&RxHeader,Row_Data);
		Get_VESC_Data(header, Row_Data);
	}
#undef header
}
void SPI_FDCANCallback(int header,unsigned char * Row_Data){
	Get_Vision_Data(header,Row_Data);
	Car_State_Decode(header, Row_Data);
}
void HAL_GPIO_EXTI_Callback(uint16_t GPIO_Pin){
		Get_SPIFDCAN_Data();
}

/* USER CODE END 4 */

 /* MPU Configuration */

void MPU_Config(void)
{
  MPU_Region_InitTypeDef MPU_InitStruct = {0};

  /* Disables the MPU */
  HAL_MPU_Disable();

  /** Initializes and configures the Region and the memory to be protected
  */
  MPU_InitStruct.Enable = MPU_REGION_ENABLE;
  MPU_InitStruct.Number = MPU_REGION_NUMBER0;
  MPU_InitStruct.BaseAddress = 0x0;
  MPU_InitStruct.Size = MPU_REGION_SIZE_4GB;
  MPU_InitStruct.SubRegionDisable = 0x87;
  MPU_InitStruct.TypeExtField = MPU_TEX_LEVEL0;
  MPU_InitStruct.AccessPermission = MPU_REGION_NO_ACCESS;
  MPU_InitStruct.DisableExec = MPU_INSTRUCTION_ACCESS_DISABLE;
  MPU_InitStruct.IsShareable = MPU_ACCESS_SHAREABLE;
  MPU_InitStruct.IsCacheable = MPU_ACCESS_NOT_CACHEABLE;
  MPU_InitStruct.IsBufferable = MPU_ACCESS_NOT_BUFFERABLE;

  HAL_MPU_ConfigRegion(&MPU_InitStruct);
  /* Enables the MPU */
  HAL_MPU_Enable(MPU_PRIVILEGED_DEFAULT);

}

void HAL_TIM_PeriodElapsedCallback(TIM_HandleTypeDef *htim)
{
  if (htim->Instance == TIM2) {
    HAL_IncTick();
  }
  /* USER CODE BEGIN Callback 1 */
	if (htim->Instance == TIM16) {
		Transmit_task();
  }
	if (htim->Instance == TIM3)
		CPU_Tick += 1;

  /* USER CODE END Callback 1 */
}

void Error_Handler(void)
{
  __disable_irq();
  while (1)
  {
  }
}
